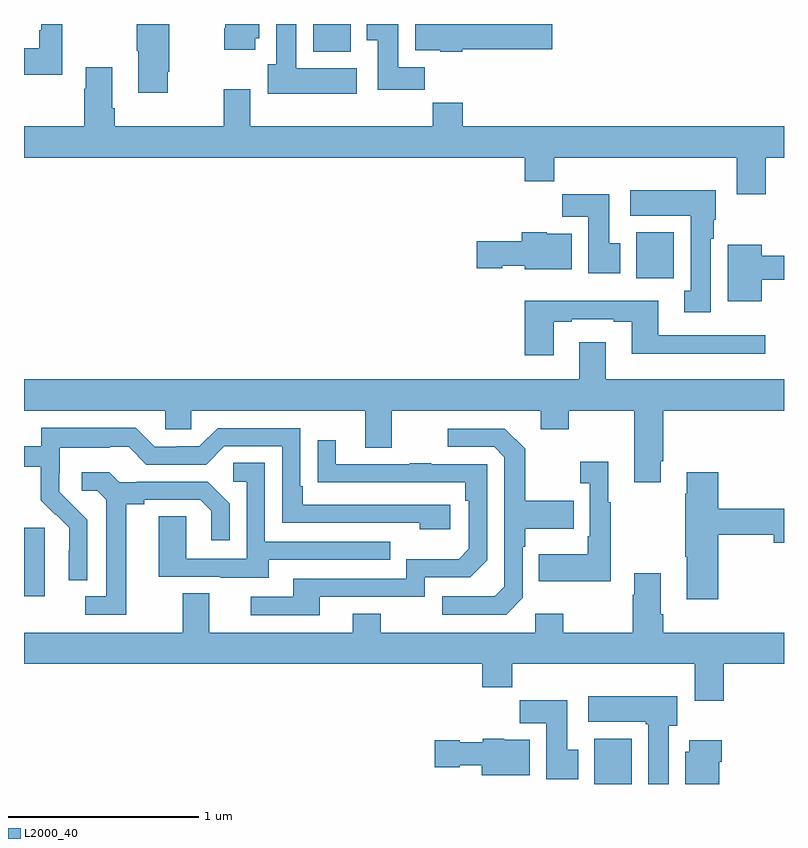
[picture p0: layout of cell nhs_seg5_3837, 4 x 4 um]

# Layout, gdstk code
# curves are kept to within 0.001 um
import gdstk
lib = gdstk.Library(unit=1e-6, precision=1e-09)
def R(c, l, rs):  # rectangles x0, y0, x1, y1
    for r in rs: c.add(gdstk.rectangle(r[:2], r[2:], *l))
def P(c, l, *ps):  # polygons
    for p in ps: c.add(gdstk.Polygon(p, *l))
L2000_40 = (2000, 40)

nhs_seg5_3837 = lib.new_cell('nhs_seg5_3837')
R(nhs_seg5_3837, L2000_40, [(340.001,850.799,340.198,851.038), (337,851.786,337.108,852.147), (340.223,853.46,340.42,853.702), (338.522,854.654,338.719,854.799)])
P(nhs_seg5_3837, L2000_40, [(338.752,854.566),(338.434,854.566),(338.434,854.799),(338.327,854.799),(338.327,854.586),(338.282,854.586),(338.282,854.432),(338.752,854.432)],
  [(339.306,854.665),(339.781,854.665),(339.781,854.799),(339.059,854.799),(339.059,854.66),(339.192,854.66),(339.192,854.654),(339.306,854.654)],
  [(338.218,854.724),(338.239,854.724),(338.239,854.799),(338.06,854.799),(338.06,854.776),(338.053,854.776),(338.053,854.664),(338.218,854.664)],
  [(337.201,854.799),(337.092,854.799),(337.092,854.767),(337.08,854.767),(337.08,854.671),(337,854.671),(337,854.531),(337.201,854.531)],
  [(337.756,854.548),(337.764,854.548),(337.764,854.799),(337.594,854.799),(337.594,854.659),(337.601,854.659),(337.601,854.436),(337.756,854.436)],
  [(339.11,854.572),(338.971,854.572),(338.971,854.799),(338.804,854.799),(338.804,854.713),(338.861,854.713),(338.861,854.454),(339.11,854.454)],
  [(340.904,854.096),(341,854.096),(341,854.26),(339.308,854.26),(339.308,854.384),(339.151,854.384),(339.151,854.26),(338.191,854.26),(338.191,854.455),(338.051,854.455),(338.051,854.26),(337.478,854.26),(337.478,854.356),(337.465,854.356),(337.465,854.572),(337.325,854.572),(337.325,854.459),(337.318,854.459),(337.318,854.26),(337,854.26),(337,854.096),(339.635,854.096),(339.635,853.972),(339.791,853.972),(339.791,854.096),(340.751,854.096),(340.751,853.902),(340.904,853.902)],
  [(340.615,853.67),(340.63,853.67),(340.63,853.77),(340.642,853.77),(340.642,853.924),(340.191,853.924),(340.191,853.79),(340.508,853.79),(340.508,853.394),(340.475,853.394),(340.475,853.281),(340.615,853.281)],
  [(340.138,853.644),(340.081,853.644),(340.081,853.903),(339.832,853.903),(339.832,853.784),(339.971,853.784),(339.971,853.488),(340.138,853.488)],
  [(339.883,853.696),(339.75,853.696),(339.75,853.702),(339.62,853.702),(339.62,853.656),(339.384,853.656),(339.384,853.514),(339.516,853.514),(339.516,853.526),(339.636,853.526),(339.636,853.508),(339.883,853.508)],
  [(340.882,853.452),(341,853.452),(341,853.58),(340.882,853.58),(340.882,853.636),(340.703,853.636),(340.703,853.34),(340.882,853.34)],
  [(339.787,853.233),(339.883,853.233),(339.883,853.245),(340.103,853.245),(340.103,853.233),(340.199,853.233),(340.199,853.064),(340.9,853.064),(340.9,853.161),(340.339,853.161),(340.339,853.342),(339.635,853.342),(339.635,853.056),(339.787,853.056)],
  [(340.211,852.387),(340.351,852.387),(340.351,852.499),(340.364,852.499),(340.364,852.764),(341,852.764),(341,852.928),(340.063,852.928),(340.063,853.123),(339.923,853.123),(339.923,852.928),(337,852.928),(337,852.764),(337.743,852.764),(337.743,852.666),(337.881,852.666),(337.881,852.764),(338.795,852.764),(338.795,852.57),(338.935,852.57),(338.935,852.764),(339.719,852.764),(339.719,852.665),(339.867,852.665),(339.867,852.764),(340.211,852.764)],
  [(337.332,852.19),(337.186,852.338),(337.186,852.435),(337.188,852.435),(337.188,852.569),(337.451,852.569),(337.451,852.573),(337.551,852.573),(337.644,852.48),(337.959,852.48),(338.055,852.576),(338.358,852.576),(338.358,852.174),(339.083,852.174),(339.083,852.14),(339.244,852.14),(339.244,852.27),(338.467,852.27),(338.467,852.367),(338.454,852.367),(338.454,852.672),(338.019,852.672),(337.923,852.576),(337.805,852.576),(337.805,852.573),(337.689,852.573),(337.589,852.673),(337.092,852.673),(337.092,852.576),(337,852.576),(337,852.468),(337.087,852.468),(337.087,852.293),(337.164,852.216),(337.167,852.219),(337.238,852.149),(337.238,852.026),(337.236,852.026),(337.236,851.872),(337.332,851.872)],
  [(339.624,851.778),(339.624,852.047),(339.637,852.047),(339.637,852.143),(339.893,852.143),(339.893,852.291),(339.637,852.291),(339.637,852.563),(339.531,852.669),(339.231,852.669),(339.231,852.573),(339.474,852.573),(339.528,852.519),(339.528,851.838),(339.477,851.787),(339.201,851.787),(339.201,851.691),(339.537,851.691)],
  [(338.557,851.784),(339.108,851.784),(339.108,851.886),(339.348,851.886),(339.438,851.976),(339.438,852.483),(339.143,852.483),(339.143,852.488),(339.031,852.488),(339.031,852.483),(338.641,852.483),(338.641,852.607),(338.545,852.607),(338.545,852.388),(339.322,852.387),(339.322,852.29),(339.342,852.29),(339.342,852.036),(339.289,851.983),(339.012,851.983),(339.012,851.88),(338.417,851.88),(338.417,851.784),(338.193,851.784),(338.193,851.688),(338.557,851.688)],
  [(340.087,852.283),(340.075,852.283),(340.075,852.496),(339.927,852.496),(339.927,852.383),(339.978,852.383),(339.978,852.103),(339.966,852.103),(339.966,852.007),(339.709,852.007),(339.709,851.867),(340.087,851.867)],
  [(338.287,851.979),(338.927,851.979),(338.927,852.075),(338.268,852.075),(338.268,852.491),(338.1,852.491),(338.1,852.39),(338.172,852.39),(338.172,851.985),(337.854,851.985),(337.854,852.209),(337.709,852.209),(337.709,851.889),(338.033,851.889),(338.033,851.885),(338.287,851.885)],
  [(337.537,852.272),(337.633,852.272),(337.633,852.294),(337.928,852.294),(337.985,852.237),(337.985,852.081),(338.082,852.081),(338.082,852.274),(337.966,852.39),(337.594,852.39),(337.594,852.387),(337.5,852.387),(337.448,852.439),(337.305,852.439),(337.305,852.342),(337.386,852.342),(337.433,852.295),(337.433,851.787),(337.323,851.787),(337.323,851.691),(337.537,851.691)],
  [(340.655,852.112),(340.946,852.112),(340.946,852.07),(341,852.07),(341,852.248),(340.655,852.248),(340.655,852.439),(340.487,852.439),(340.487,852.326),(340.48,852.326),(340.48,851.995),(340.487,851.995),(340.487,851.772),(340.655,851.772)],
  [(340.682,851.432),(341,851.432),(341,851.596),(340.364,851.596),(340.364,851.692),(340.351,851.692),(340.351,851.908),(340.211,851.908),(340.211,851.795),(340.204,851.795),(340.204,851.596),(339.837,851.596),(339.837,851.695),(339.69,851.695),(339.69,851.596),(338.877,851.596),(338.877,851.695),(338.729,851.695),(338.729,851.596),(337.975,851.596),(337.975,851.804),(337.835,851.804),(337.835,851.596),(337,851.596),(337,851.432),(339.413,851.432),(339.413,851.308),(339.569,851.308),(339.569,851.432),(340.529,851.432),(340.529,851.238),(340.682,851.238)],
  [(340.393,851.106),(340.438,851.106),(340.438,851.26),(339.969,851.26),(339.969,851.126),(340.273,851.126),(340.273,851.113),(340.286,851.113),(340.286,850.799),(340.393,850.799)],
  [(339.916,850.98),(339.859,850.98),(339.859,851.239),(339.61,851.239),(339.61,851.12),(339.749,851.12),(339.749,850.824),(339.916,850.824)],
  [(339.661,851.032),(339.528,851.032),(339.528,851.038),(339.414,851.038),(339.414,851.02),(339.294,851.02),(339.294,851.028),(339.162,851.028),(339.162,850.886),(339.294,850.886),(339.294,850.898),(339.41,850.898),(339.41,850.844),(339.661,850.844)],
  [(340.66,850.916),(340.673,850.916),(340.673,851.029),(340.502,851.029),(340.502,850.968),(340.481,850.968),(340.481,850.799),(340.66,850.799)])

lib.write_gds('nhs_seg5_3837.gds')
